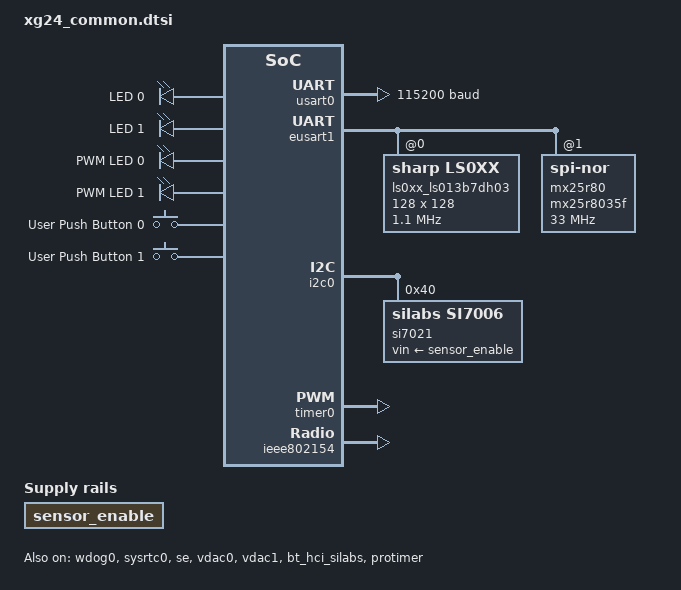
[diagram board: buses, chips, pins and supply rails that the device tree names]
/*
 * Copyright (c) 2026 Silicon Laboratories Inc.
 *
 * SPDX-License-Identifier: Apache-2.0
 */

#include <silabs/xg24/clock-hfrcodpll.dtsi>
#include <silabs/xg24/clock-lfxo.dtsi>
#include <zephyr/dt-bindings/input/input-event-codes.h>
#include <zephyr/dt-bindings/pwm/pwm.h>
#include <zephyr/dt-bindings/regulator/silabs_dcdc.h>
#include "xg24_common-pinctrl.dtsi"

/ {
	chosen {
		zephyr,bt-hci = &bt_hci_silabs;
		zephyr,code-partition = &slot0_partition;
		zephyr,console = &usart0;
		zephyr,display = &ls0xx_ls013b7dh03;
		zephyr,flash = &flash0;
		zephyr,ieee802154 = &ieee802154;
		zephyr,openthread-counter = &protimer;
		zephyr,shell-uart = &usart0;
		zephyr,sram = &sram0;
		zephyr,uart-pipe = &usart0;
	};

	aliases {
		dht0 = &si7021;
		led0 = &led0;
		led1 = &led1;
		pwm-led0 = &pwm_led0;
		pwm-led1 = &pwm_led1;
		spi-flash0 = &mx25r80;
		sw0 = &button0;
		sw1 = &button1;
		watchdog0 = &wdog0;
	};

	leds {
		compatible = "gpio-leds";

		led0: led_0 {
			label = "LED 0";
		};

		led1: led_1 {
			label = "LED 1";
		};
	};

	pwmleds {
		compatible = "pwm-leds";

		pwm_led0: pwm_led_0 {
			label = "PWM LED 0";
		};

		pwm_led1: pwm_led_1 {
			label = "PWM LED 1";
		};
	};

	buttons {
		compatible = "gpio-keys";

		button0: button_0 {
			label = "User Push Button 0";
			zephyr,code = <INPUT_KEY_0>;
		};

		button1: button_1 {
			label = "User Push Button 1";
			zephyr,code = <INPUT_KEY_1>;
		};
	};

	sensor_enable: sensor_enable {
		compatible = "regulator-fixed";
		regulator-name = "sensor_enable";
	};

	exp_header: exp-header {
		compatible = "silabs,exp-header";
		#gpio-cells = <2>;
		gpio-map-mask = <0xffffffff 0x0>;
		gpio-map-pass-thru = <0x0 GPIO_DT_FLAGS_MASK>;
	};
};

&itm {
	pinctrl-0 = <&itm_default>;
	pinctrl-names = "default";
};

&lfxo {
	precision = <50>;
};

&usart0 {
	current-speed = <115200>;
	pinctrl-0 = <&usart0_default>;
	pinctrl-names = "default";
	status = "okay";
};

&eusart1 {
	compatible = "silabs,eusart-spi";
	#address-cells = <1>;
	#size-cells = <0>;
	clock-frequency = <DT_FREQ_M(10)>;
	pinctrl-0 = <&eusart1_default>;
	pinctrl-names = "default";
	status = "okay";

	ls0xx_ls013b7dh03: ls0xx@0 {
		compatible = "sharp,ls0xx";
		reg = <0>;
		extcomin-frequency = <60>;
		height = <128>;
		spi-max-frequency = <DT_FREQ_K(1100)>;
		width = <128>;
	};

	mx25r80: mx25r8035f@1 {
		compatible = "jedec,spi-nor";
		reg = <1>;
		dpd-wakeup-sequence = <30000 20 35000>;
		has-dpd;
		jedec-id = [c2 28 14];
		mxicy,mx25r-power-mode = "low-power";
		size = <DT_SIZE_M(8)>;
		spi-max-frequency = <DT_FREQ_M(33)>;
		zephyr,pm-device-runtime-auto;
	};
};

&i2c0 {
	pinctrl-0 = <&i2c0_default>;
	pinctrl-names = "default";
	status = "okay";

	si7021: si7021@40 {
		compatible = "silabs,si7006";
		reg = <0x40>;
		vin-supply = <&sensor_enable>;
	};
};

&timer0 {
	status = "okay";

	timer0_pwm: pwm {
		pinctrl-0 = <&timer0_default>;
		pinctrl-names = "default";
		status = "okay";
	};
};

&gpio {
	status = "okay";
};

&gpioa {
	status = "okay";
};

&gpiob {
	status = "okay";
};

&gpioc {
	status = "okay";
};

&gpiod {
	status = "okay";
};

&wdog0 {
	status = "okay";
};

&sysrtc0 {
	status = "okay";
};

&se {
	status = "okay";
};

&dcdc {
	regulator-boot-on;
	regulator-initial-mode = <SILABS_DCDC_MODE_BUCK>;
	status = "okay";
};

&flash0 {
	partitions {
		ranges;
		#address-cells = <1>;
		#size-cells = <1>;

		/* Reserve 48 kB for the bootloader */
		boot_partition: partition@0 {
			compatible = "zephyr,mapped-partition";
			reg = <0x0 DT_SIZE_K(48)>;
			label = "mcuboot";
			read-only;
		};

		/* Reserve 728 kB for the application in slot 0 */
		slot0_partition: partition@c000 {
			compatible = "zephyr,mapped-partition";
			reg = <0x0000c000 DT_SIZE_K(728)>;
			label = "image-0";
		};

		/* Reserve 728 kB for the application in slot 1 */
		slot1_partition: partition@c2000 {
			compatible = "zephyr,mapped-partition";
			reg = <0x000c2000 DT_SIZE_K(728)>;
			label = "image-1";
		};

		/* Set 32 kB of storage at the end of the 1536 kB of flash */
		storage_partition: partition@178000 {
			compatible = "zephyr,mapped-partition";
			reg = <0x00178000 DT_SIZE_K(32)>;
			label = "storage";
		};
	};
};

&vdac0 {
	status = "okay";
};

&vdac1 {
	status = "okay";
};

&bt_hci_silabs {
	status = "okay";
};

&ieee802154 {
	status = "okay";
	hfxo = <&hfxo>;
	sleep-clock = <&lfxo>;
};

&protimer {
	status = "okay";
};
